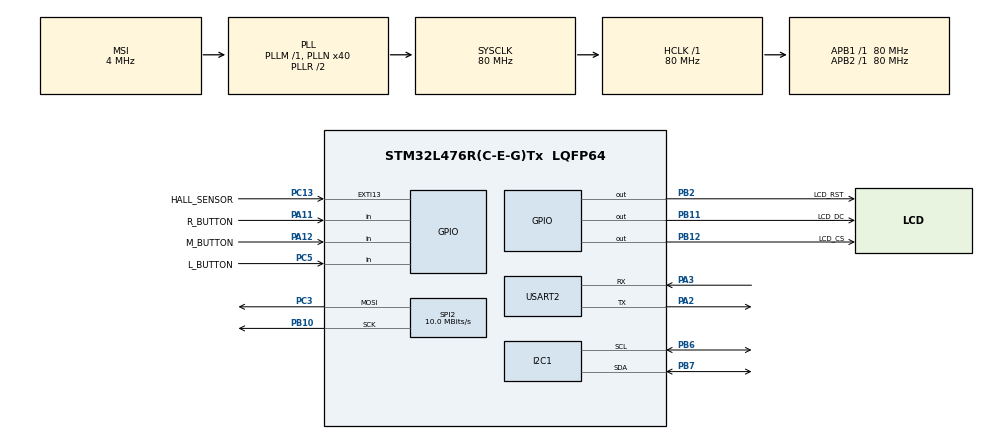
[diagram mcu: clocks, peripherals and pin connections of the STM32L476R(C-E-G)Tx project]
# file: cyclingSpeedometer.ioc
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Dma.Request0=SPI2_TX
Dma.SPI2_TX.0.Direction=DMA_MEMORY_TO_PERIPH
Dma.SPI2_TX.0.Instance=DMA1_Channel5
Dma.SPI2_TX.0.MemDataAlignment=DMA_MDATAALIGN_BYTE
Dma.SPI2_TX.0.MemInc=DMA_MINC_ENABLE
Dma.SPI2_TX.0.Mode=DMA_NORMAL
Dma.SPI2_TX.0.PeriphDataAlignment=DMA_PDATAALIGN_BYTE
Dma.SPI2_TX.0.PeriphInc=DMA_PINC_DISABLE
Dma.SPI2_TX.0.Priority=DMA_PRIORITY_LOW
I2C1.Timing=0x10909CEC
Mcu.Family=STM32L4
Mcu.Name=STM32L476R(C-E-G)Tx
Mcu.Package=LQFP64
NVIC.DMA1_Channel5_IRQn=true\:0\:0\:false\:false\:true\:false\:true\:true
NVIC.EXTI15_10_IRQn=true\:10\:0\:true\:false\:true\:true\:true\:true
NVIC.PriorityGroup=NVIC_PRIORITYGROUP_4
NVIC.TIM6_DAC_IRQn=true\:10\:0\:true\:false\:true\:true\:true\:true
NVIC.TIM7_IRQn=true\:10\:0\:true\:false\:true\:true\:true\:true
PA11.GPIO_Label=R_BUTTON
PA11.GPIO_PuPd=GPIO_PULLUP
PA11.Signal=GPIO_Input
PA12.GPIO_Label=M_BUTTON
PA12.GPIO_PuPd=GPIO_PULLUP
PA12.Signal=GPIO_Input
PA13\ (JTMS-SWDIO).Mode=Serial_Wire
PA13\ (JTMS-SWDIO).Signal=SYS_JTMS-SWDIO
PA14\ (JTCK-SWCLK).Mode=Serial_Wire
PA14\ (JTCK-SWCLK).Signal=SYS_JTCK-SWCLK
PA2.Mode=Asynchronous
PA2.Signal=USART2_TX
PA3.Mode=Asynchronous
PA3.Signal=USART2_RX
PB10.Mode=TX_Only_Simplex_Unidirect_Master
PB10.Signal=SPI2_SCK
PB11.GPIO_Label=LCD_DC
PB11.Signal=GPIO_Output
PB12.GPIO_Label=LCD_CS
PB12.PinState=GPIO_PIN_SET
PB12.Signal=GPIO_Output
PB2.GPIO_Label=LCD_RST
PB2.Signal=GPIO_Output
PB6.Mode=I2C
PB6.Signal=I2C1_SCL
PB7.Mode=I2C
PB7.Signal=I2C1_SDA
PC13.GPIO_Label=HALL_SENSOR
PC13.Signal=GPXTI13
PC3.Mode=TX_Only_Simplex_Unidirect_Master
PC3.Signal=SPI2_MOSI
PC5.GPIO_Label=L_BUTTON
PC5.GPIO_PuPd=GPIO_PULLUP
PC5.Signal=GPIO_Input
ProjectManager.HeapSize=0x200
ProjectManager.StackSize=0x2000
ProjectManager.TargetToolchain=STM32CubeIDE
RCC.ADCFreq_Value=32000000
RCC.AHBFreq_Value=80000000
RCC.APB1Freq_Value=80000000
RCC.APB1TimFreq_Value=80000000
RCC.APB2Freq_Value=80000000
RCC.APB2TimFreq_Value=80000000
RCC.CortexFreq_Value=80000000
RCC.HCLKFreq_Value=80000000
RCC.HSE_VALUE=8000000
RCC.HSI_VALUE=16000000
RCC.LSE_VALUE=32768
RCC.MSI_VALUE=4000000
RCC.PLLN=40
RCC.PLLSAI1N=16
RCC.SYSCLKFreq_VALUE=80000000
RCC.SYSCLKSource=RCC_SYSCLKSOURCE_PLLCLK
RCC.USBFreq_Value=32000000
RCC.VCOOutputFreq_Value=160000000
SPI2.BaudRatePrescaler=SPI_BAUDRATEPRESCALER_8
SPI2.CalculateBaudRate=10.0 MBits/s
SPI2.DataSize=SPI_DATASIZE_8BIT
SPI2.Direction=SPI_DIRECTION_2LINES
SPI2.Mode=SPI_MODE_MASTER
SPI2.NSSPMode=SPI_NSS_PULSE_DISABLE
SPI2.VirtualType=VM_MASTER
TIM6.Period=49999
TIM6.Prescaler=7999
TIM7.Period=9999
TIM7.Prescaler=7999
USART2.VirtualMode-Asynchronous=VM_ASYNC
VP_TIM6_VS_ClockSourceINT.Mode=Enable_Timer
VP_TIM7_VS_ClockSourceINT.Mode=Enable_Timer
board=custom

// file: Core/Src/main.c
/* USER CODE BEGIN Header */
/**
  ******************************************************************************
  * @file           : main.c
  * @brief          : Main program body
  ******************************************************************************
  * @attention
  *
  * Copyright (c) 2024 STMicroelectronics.
  * All rights reserved.
  *
  * This software is licensed under terms that can be found in the LICENSE file
  * in the root directory of this software component.
  * If no LICENSE file comes with this software, it is provided AS-IS.
  *
  ******************************************************************************
  */
/* USER CODE END Header */
#include "main.h"
#include "dma.h"
#include "i2c.h"
#include "spi.h"
#include "tim.h"
#include "usart.h"
#include "gpio.h"

/* USER CODE BEGIN Includes */
#include <stdio.h>
#include <stdbool.h>
#include <math.h>
#include <wchar.h>

#include "hall_sensor.h"
#include "lps25hb.h"
#include "lcd.h"
#include "hagl.h"
#include "font9x18B-KOI8-R.h"

/* USER CODE END Includes */

/* USER CODE BEGIN PV */
int __io_putchar(int ch)
{
	if(ch == '\n') {
		__io_putchar('\r');
	}

	HAL_UART_Transmit(&huart2, (uint8_t*)&ch, 1, HAL_MAX_DELAY);

	return 1;
}

void HAL_SPI_TxCpltCallback(SPI_HandleTypeDef *hspi)
{
	if (hspi == &hspi2)
		{
			lcd_transfer_done();
		}
}

volatile uint32_t timer_seconds = 0;
volatile uint32_t old_time = 0;
volatile uint32_t current_time = 0;
volatile uint32_t period = 0;
void HAL_TIM_PeriodElapsedCallback(TIM_HandleTypeDef *htim)
{
	if(htim == &htim6) {
		current_time = 0;
		old_time = 0;
		period = 0;
	}
	if(htim == &htim7){
			timer_seconds++;
		}
}
volatile uint32_t hallCounter = 0;
void HAL_GPIO_EXTI_Callback(uint16_t GPIO_Pin)
{
	if(GPIO_Pin == HALL_SENSOR_Pin) {
		//Save time
		current_time = HAL_GetTick();
		//Count the period
		period = current_time - old_time;
		old_time = current_time;
		__HAL_TIM_SET_COUNTER(&htim6, 0);
		hallCounter++;
	}
}

void convert_time(uint32_t timer_seconds, uint32_t *hours, uint32_t *minutes, uint32_t *seconds)
{
	*seconds = timer_seconds % 60;
	*minutes = (timer_seconds/60) % 60;
	*hours = (timer_seconds/3600) % 24;
}

uint8_t wheelSize = 0;
/* USER CODE END PV */

void SystemClock_Config(void);

int main(void)
{

  /* MCU Configuration--------------------------------------------------------*/

  /* Reset of all peripherals, Initializes the Flash interface and the Systick. */
  HAL_Init();

  /* Configure the system clock */
  SystemClock_Config();

  /* Initialize all configured peripherals */
  MX_GPIO_Init();
  MX_DMA_Init();
  MX_USART2_UART_Init();
  MX_TIM6_Init();
  MX_I2C1_Init();
  MX_SPI2_Init();
  MX_TIM7_Init();

  /* Infinite loop */
  /* USER CODE BEGIN WHILE */
  HAL_TIM_Base_Start_IT(&htim6);
  HAL_TIM_Base_Start_IT(&htim7);
  lps25hb_init();
  lcd_init();
  //Variables
  uint8_t counter1 = 0;
  uint8_t counter2 = 0;
  uint8_t counter3 = 0;
  uint8_t whichButton = 0;
  uint32_t hours,minutes,seconds;
  float distance = 0;
  float heightDifference = 0;
  float h = 0;
  float p0 = lps25hb_read_pressure();

  while (1)
  {

	float temp = lps25hb_read_temp() + 273.15;
	float p = lps25hb_read_pressure();
	float temperature_C = lps25hb_read_temp();
	wheelSize = counter3;
	speed = speedValue(period, wheelSize);

	//DISPLAY PART

	hagl_clear_screen();

	wchar_t speed_display[16];
	wchar_t h_display[16];
	wchar_t temperature_display[16];
	wchar_t timer_display[16];
	wchar_t distance_display[16];
	wchar_t heightDiff_display[16];
	wchar_t wheelSize_display[16];

	swprintf(heightDiff_display, 16, L"%d m", (uint16_t)heightDifference);
	swprintf(temperature_display,16,L"%d°C", (uint8_t)temperature_C);
	swprintf(h_display,16, L"%.2f m", h);
	swprintf(speed_display,16, L"%.2f km/h", speed);
	swprintf(timer_display,16, L"%02lu:%02lu:%02lu", hours,minutes,seconds);
	swprintf(distance_display,16,L"%.2f km",(float)distance);
	swprintf(wheelSize_display,16,L"%Wheel Size: %d \n  (inch)", wheelSize);

	//BUTTON PART
	 if(HAL_GPIO_ReadPin(L_BUTTON_GPIO_Port, L_BUTTON_Pin) == GPIO_PIN_RESET) {
		 counter1++;
		 whichButton = 1;
		 timer_seconds = 0;
		 if(counter1 > 4){
			 counter1 = 0;
		 }
		 while(HAL_GPIO_ReadPin(L_BUTTON_GPIO_Port,L_BUTTON_Pin) == GPIO_PIN_RESET);
	 }
	 if(HAL_GPIO_ReadPin(M_BUTTON_GPIO_Port, M_BUTTON_Pin) == GPIO_PIN_RESET) {
		 counter2++;
		 whichButton = 2;
		 if(counter2 > 2) {
			 counter2 = 0;
		 }
		 while(HAL_GPIO_ReadPin(M_BUTTON_GPIO_Port,M_BUTTON_Pin) == GPIO_PIN_RESET);
	 }
	 if(HAL_GPIO_ReadPin(R_BUTTON_GPIO_Port, R_BUTTON_Pin) == GPIO_PIN_RESET) {
		 counter3++;
		 if(counter3 > 30){
			 counter3 = 0;
		 }
		 while(HAL_GPIO_ReadPin(R_BUTTON_GPIO_Port,R_BUTTON_Pin) == GPIO_PIN_RESET);
	 }

	 //INTERFACE PART
	 switch(whichButton) {
	 //1.Trip mode
	 case 1:
		 	if(counter1 == 1){
		 		hagl_put_text(L"   Press again \n  to start trip",0,45,WHITE,font9x18B_KOI8_R);
		 		lcd_copy();
		 	}
		 	else if(counter1 == 2){
				//TRIP MODE - displaying speed, distance and trip time
				distance = distanceCovered(hallCounter, 28);
				convert_time(timer_seconds, &hours, &minutes, &seconds);
				h = -29.271769 * temp * log(p / p0);
				heightDifference = heightDiff(h);
				//Display
				hagl_put_text(speed_display,40,55,WHITE, font9x18B_KOI8_R);
				hagl_put_text(distance_display,40,25,WHITE,font9x18B_KOI8_R);
				hagl_put_text(temperature_display, 0, 0, WHITE, font9x18B_KOI8_R);
				hagl_put_text(timer_display,40,85,WHITE,font9x18B_KOI8_R);
				lcd_copy();
		 	}
		 	else if(counter1 == 3){
		 		//TRIP RESULTS MODE - displaying total distance, time and hDiff
		 		hagl_put_text(L"Trip finished!",0,0,WHITE,font9x18B_KOI8_R);
		 		hagl_put_text(L"Dist: ",0,25,WHITE,font9x18B_KOI8_R);
		 		hagl_put_text(distance_display,70,25,WHITE,font9x18B_KOI8_R);
		 		hagl_put_text(L"Time: ",0,45,WHITE,font9x18B_KOI8_R);
		 		hagl_put_text(timer_display,60,45,WHITE,font9x18B_KOI8_R);
		 		hagl_put_text(L"H diff: ",0,65,WHITE,font9x18B_KOI8_R);
		 		hagl_put_text(heightDiff_display, 100,65,WHITE,font9x18B_KOI8_R);
		 		lcd_copy();
		 	}
		 	else if(counter1 == 4) {
		 		whichButton = 0;
		 		hallCounter = 0;
		 	}
			break;
	//2. Wheel size config mode
	 case 2:
		 	if(counter2 == 1) {
				hagl_put_text(wheelSize_display, 0,40,WHITE,font9x18B_KOI8_R);
				hagl_put_text(L"2.Accept",0,60,WHITE,font9x18B_KOI8_R);
				hagl_put_text(L"3.Change size ",0,80,WHITE,font9x18B_KOI8_R);
				lcd_copy();
		 	}
		 	else if(counter2 == 2) {
		 		whichButton = 0;
		 	}
		 	break;
	//Default - menu
	 default:
		 	hagl_put_text(L"Mode:\n 1.Trip mode\n 2.Wheel size",10,25,WHITE,font9x18B_KOI8_R);
		 	lcd_copy();
			break;
	 }

    /* USER CODE END WHILE */

  }
}

void SystemClock_Config(void)
{
  RCC_OscInitTypeDef RCC_OscInitStruct = {0};
  RCC_ClkInitTypeDef RCC_ClkInitStruct = {0};

  /** Configure the main internal regulator output voltage
  */
  if (HAL_PWREx_ControlVoltageScaling(PWR_REGULATOR_VOLTAGE_SCALE1) != HAL_OK)
  {
    Error_Handler();
  }

  /** Initializes the RCC Oscillators according to the specified parameters
  * in the RCC_OscInitTypeDef structure.
  */
  RCC_OscInitStruct.OscillatorType = RCC_OSCILLATORTYPE_MSI;
  RCC_OscInitStruct.MSIState = RCC_MSI_ON;
  RCC_OscInitStruct.MSICalibrationValue = 0;
  RCC_OscInitStruct.MSIClockRange = RCC_MSIRANGE_6;
  RCC_OscInitStruct.PLL.PLLState = RCC_PLL_ON;
  RCC_OscInitStruct.PLL.PLLSource = RCC_PLLSOURCE_MSI;
  RCC_OscInitStruct.PLL.PLLM = 1;
  RCC_OscInitStruct.PLL.PLLN = 40;
  RCC_OscInitStruct.PLL.PLLP = RCC_PLLP_DIV7;
  RCC_OscInitStruct.PLL.PLLQ = RCC_PLLQ_DIV2;
  RCC_OscInitStruct.PLL.PLLR = RCC_PLLR_DIV2;
  if (HAL_RCC_OscConfig(&RCC_OscInitStruct) != HAL_OK)
  {
    Error_Handler();
  }

  /** Initializes the CPU, AHB and APB buses clocks
  */
  RCC_ClkInitStruct.ClockType = RCC_CLOCKTYPE_HCLK|RCC_CLOCKTYPE_SYSCLK
                              |RCC_CLOCKTYPE_PCLK1|RCC_CLOCKTYPE_PCLK2;
  RCC_ClkInitStruct.SYSCLKSource = RCC_SYSCLKSOURCE_PLLCLK;
  RCC_ClkInitStruct.AHBCLKDivider = RCC_SYSCLK_DIV1;
  RCC_ClkInitStruct.APB1CLKDivider = RCC_HCLK_DIV1;
  RCC_ClkInitStruct.APB2CLKDivider = RCC_HCLK_DIV1;

  if (HAL_RCC_ClockConfig(&RCC_ClkInitStruct, FLASH_LATENCY_4) != HAL_OK)
  {
    Error_Handler();
  }
}

void Error_Handler(void)
{
  __disable_irq();
  while (1)
  {
  }
}
